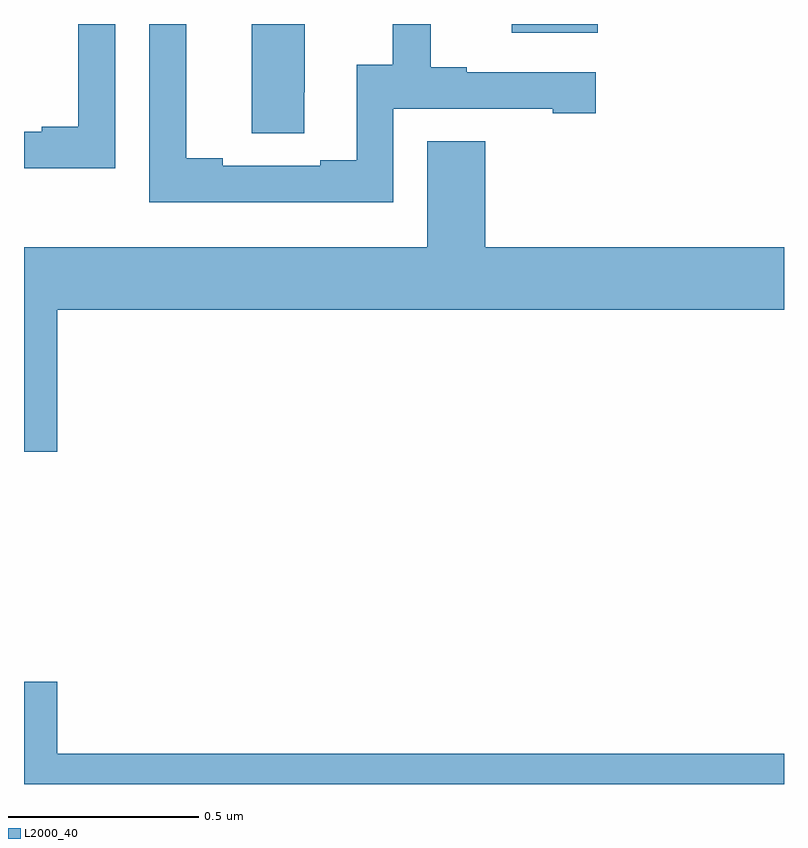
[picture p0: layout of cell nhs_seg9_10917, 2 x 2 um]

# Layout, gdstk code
import gdstk
lib = gdstk.Library(unit=1e-6, precision=1e-09)
def R(c, l, rs):  # rectangles x0, y0, x1, y1
    for r in rs: c.add(gdstk.rectangle(r[:2], r[2:], *l))
def P(c, l, *ps):  # polygons
    for p in ps: c.add(gdstk.Polygon(p, *l))
L2000_40 = (2000, 40)

nhs_seg9_10917 = lib.new_cell('nhs_seg9_10917')
R(nhs_seg9_10917, L2000_40, [(250.283,1202.477,250.51,1202.5)])
P(nhs_seg9_10917, L2000_40, [(249.738,1202.32),(249.739,1202.32),(249.739,1202.5),(249.599,1202.5),(249.599,1202.212),(249.738,1202.212)],
  [(249.24,1202.5),(249.143,1202.5),(249.143,1202.23),(249.047,1202.23),(249.047,1202.217),(249,1202.217),(249,1202.12),(249.24,1202.12)],
  [(249.972,1202.277),(250.391,1202.277),(250.391,1202.265),(250.504,1202.265),(250.504,1202.373),(250.165,1202.373),(250.165,1202.386),(250.07,1202.386),(250.07,1202.5),(249.97,1202.5),(249.97,1202.393),(249.875,1202.393),(249.875,1202.142),(249.779,1202.142),(249.779,1202.127),(249.523,1202.127),(249.523,1202.147),(249.427,1202.147),(249.427,1202.5),(249.33,1202.5),(249.33,1202.031),(249.972,1202.031)],
  [(249.088,1201.748),(251,1201.748),(251,1201.912),(250.214,1201.912),(250.214,1202.192),(250.061,1202.192),(250.061,1201.912),(249,1201.912),(249,1201.374),(249.088,1201.374)],
  [(251,1200.58),(249.088,1200.58),(249.088,1200.769),(249,1200.769),(249,1200.5),(251,1200.5)])

lib.write_gds('nhs_seg9_10917.gds')
